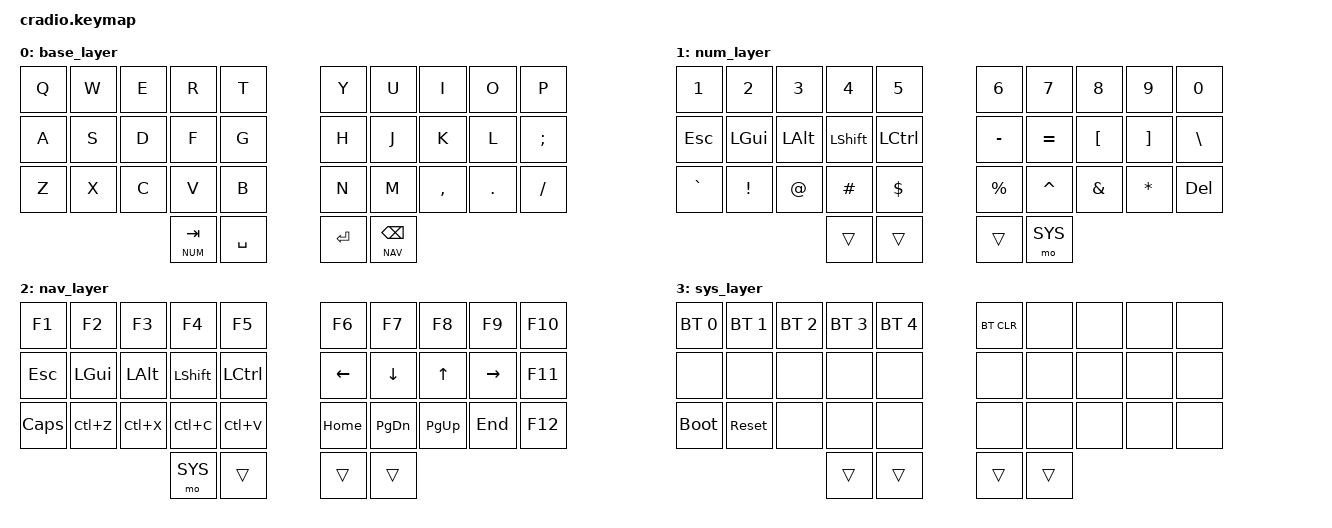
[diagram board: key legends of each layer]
#include <behaviors.dtsi>
#include <dt-bindings/zmk/keys.h>
#include <dt-bindings/zmk/bt.h>

#define BASE 0
#define NUM  1
#define NAV  2
#define SYS  3

/ {
    keymap {
        compatible = "zmk,keymap";

        base_layer {
            bindings = <
                &kp Q      &kp W      &kp E      &kp R      &kp T        &kp Y      &kp U      &kp I      &kp O      &kp P
                &kp A      &kp S      &kp D      &kp F      &kp G        &kp H      &kp J      &kp K      &kp L      &kp SEMI
                &kp Z      &kp X      &kp C      &kp V      &kp B        &kp N      &kp M      &kp COMMA  &kp DOT    &kp SLASH
                                      &lt NUM TAB &kp SPACE               &kp ENTER  &lt NAV BSPC
            >;
        };

        num_layer {
            bindings = <
                &kp N1     &kp N2     &kp N3     &kp N4     &kp N5       &kp N6     &kp N7     &kp N8     &kp N9     &kp N0
                &kp ESC    &kp LGUI   &kp LALT   &kp LSHFT  &kp LCTRL    &kp MINUS  &kp EQUAL  &kp LBKT   &kp RBKT   &kp BSLH
                &kp GRAVE  &kp EXCL   &kp AT     &kp HASH   &kp DLLR     &kp PRCNT  &kp CARET  &kp AMPS   &kp ASTRK  &kp DEL
                                      &trans      &trans                  &trans     &mo SYS
            >;
        };

        nav_layer {
            bindings = <
                &kp F1     &kp F2     &kp F3     &kp F4     &kp F5       &kp F6     &kp F7     &kp F8     &kp F9     &kp F10
                &kp ESC    &kp LGUI   &kp LALT   &kp LSHFT  &kp LCTRL    &kp LEFT   &kp DOWN   &kp UP     &kp RIGHT  &kp F11
                &kp CAPS   &kp LC(Z)  &kp LC(X)  &kp LC(C)  &kp LC(V)    &kp HOME   &kp PG_DN  &kp PG_UP  &kp END    &kp F12
                                      &mo SYS     &trans                  &trans     &trans
            >;
        };

        sys_layer {
            bindings = <
                &bt BT_SEL 0  &bt BT_SEL 1  &bt BT_SEL 2  &bt BT_SEL 3  &bt BT_SEL 4    &bt BT_CLR   &none        &none        &none        &none
                &none         &none         &none         &none         &none           &none        &none        &none        &none        &none
                &bootloader   &sys_reset    &none         &none         &none           &none        &none        &none        &none        &none
                                           &trans         &trans                       &trans       &trans
            >;
        };
    };
};
